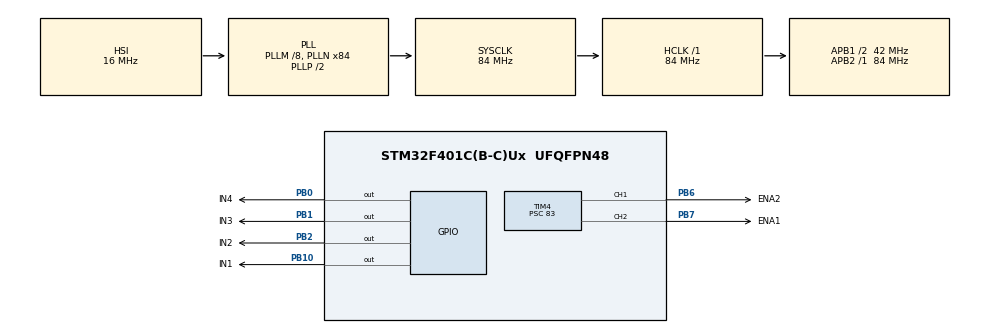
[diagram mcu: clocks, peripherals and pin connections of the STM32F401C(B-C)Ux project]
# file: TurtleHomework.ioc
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Mcu.Family=STM32F4
Mcu.Name=STM32F401C(B-C)Ux
Mcu.Package=UFQFPN48
NVIC.PriorityGroup=NVIC_PRIORITYGROUP_4
NVIC.TIM4_IRQn=true\:0\:0\:false\:false\:true\:true\:true\:true
PB0.GPIO_Label=IN4
PB0.Signal=GPIO_Output
PB1.GPIO_Label=IN3
PB1.Signal=GPIO_Output
PB10.GPIO_Label=IN1
PB10.Signal=GPIO_Output
PB2.GPIO_Label=IN2
PB2.Signal=GPIO_Output
PB6.GPIO_Label=ENA2
PB6.Signal=S_TIM4_CH1
PB7.GPIO_Label=ENA1
PB7.Signal=S_TIM4_CH2
PH0\ -\ OSC_IN.Mode=HSE-External-Oscillator
PH0\ -\ OSC_IN.Signal=RCC_OSC_IN
PH1\ -\ OSC_OUT.Mode=HSE-External-Oscillator
PH1\ -\ OSC_OUT.Signal=RCC_OSC_OUT
ProjectManager.HeapSize=0x200
ProjectManager.StackSize=0x400
ProjectManager.TargetToolchain=CMake
RCC.48MHZClocksFreq_Value=42000000
RCC.AHBFreq_Value=84000000
RCC.APB1CLKDivider=RCC_HCLK_DIV2
RCC.APB1Freq_Value=42000000
RCC.APB1TimFreq_Value=84000000
RCC.APB2Freq_Value=84000000
RCC.APB2TimFreq_Value=84000000
RCC.CortexFreq_Value=84000000
RCC.HCLKFreq_Value=84000000
RCC.HSE_VALUE=25000000
RCC.HSI_VALUE=16000000
RCC.LSE_VALUE=32768
RCC.PLLM=8
RCC.PLLN=84
RCC.SYSCLKFreq_VALUE=84000000
RCC.SYSCLKSource=RCC_SYSCLKSOURCE_PLLCLK
RCC.VCOOutputFreq_Value=168000000
SH.S_TIM4_CH1.0=TIM4_CH1,PWM Generation1 CH1
SH.S_TIM4_CH2.0=TIM4_CH2,PWM Generation2 CH2
TIM4.Channel-PWM\ Generation1\ CH1=TIM_CHANNEL_1
TIM4.Channel-PWM\ Generation2\ CH2=TIM_CHANNEL_2
TIM4.Period=16666
TIM4.Prescaler=83
VP_TIM4_VS_ClockSourceINT.Mode=Internal
board=custom

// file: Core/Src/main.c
/* USER CODE BEGIN Header */
/**
  ******************************************************************************
  * @file           : main.c
  * @brief          : Main program body
  ******************************************************************************
  * @attention
  *
  * Copyright (c) 2026 STMicroelectronics.
  * All rights reserved.
  *
  * This software is licensed under terms that can be found in the LICENSE file
  * in the root directory of this software component.
  * If no LICENSE file comes with this software, it is provided AS-IS.
  *
  ******************************************************************************
  */
/* USER CODE END Header */
#include "main.h"

TIM_HandleTypeDef htim4;

void SystemClock_Config(void);
static void MX_GPIO_Init(void);
static void MX_TIM4_Init(void);
/* USER CODE BEGIN PFP */
void turtle_forward(uint16_t speed);
void turtle_backward(uint16_t speed);
void turtle_turn_left(uint16_t speed);
void turtle_turn_right(uint16_t speed);

/* USER CODE END PFP */

/* USER CODE BEGIN 0 */
void turtle_forward(uint16_t speed)
{
    HAL_GPIO_WritePin(GPIOB, IN1_Pin, GPIO_PIN_RESET);
    HAL_GPIO_WritePin(GPIOB, IN2_Pin, GPIO_PIN_SET);
    HAL_GPIO_WritePin(GPIOB, IN3_Pin, GPIO_PIN_SET);
    HAL_GPIO_WritePin(GPIOB, IN4_Pin, GPIO_PIN_RESET);

    __HAL_TIM_SET_COMPARE(&htim4, TIM_CHANNEL_1, speed);
    __HAL_TIM_SET_COMPARE(&htim4, TIM_CHANNEL_2, speed);
}

void turtle_backward(uint16_t speed)
{
    HAL_GPIO_WritePin(GPIOB, IN1_Pin, GPIO_PIN_SET);
    HAL_GPIO_WritePin(GPIOB, IN2_Pin, GPIO_PIN_RESET);
    HAL_GPIO_WritePin(GPIOB, IN3_Pin, GPIO_PIN_RESET);
    HAL_GPIO_WritePin(GPIOB, IN4_Pin, GPIO_PIN_SET);

    __HAL_TIM_SET_COMPARE(&htim4, TIM_CHANNEL_1, speed);
    __HAL_TIM_SET_COMPARE(&htim4, TIM_CHANNEL_2, speed);
}

void turtle_turn_left(uint16_t speed)
{
    HAL_GPIO_WritePin(GPIOB, IN1_Pin, GPIO_PIN_SET);
    HAL_GPIO_WritePin(GPIOB, IN2_Pin, GPIO_PIN_RESET);
    HAL_GPIO_WritePin(GPIOB, IN3_Pin, GPIO_PIN_SET);
    HAL_GPIO_WritePin(GPIOB, IN4_Pin, GPIO_PIN_RESET);

    __HAL_TIM_SET_COMPARE(&htim4, TIM_CHANNEL_1, speed);
    __HAL_TIM_SET_COMPARE(&htim4, TIM_CHANNEL_2, speed);
}

void turtle_turn_right(uint16_t speed)
{
    HAL_GPIO_WritePin(GPIOB, IN1_Pin, GPIO_PIN_RESET);
    HAL_GPIO_WritePin(GPIOB, IN2_Pin, GPIO_PIN_SET);
    HAL_GPIO_WritePin(GPIOB, IN3_Pin, GPIO_PIN_RESET);
    HAL_GPIO_WritePin(GPIOB, IN4_Pin, GPIO_PIN_SET);

    __HAL_TIM_SET_COMPARE(&htim4, TIM_CHANNEL_1, speed);
    __HAL_TIM_SET_COMPARE(&htim4, TIM_CHANNEL_2, speed);
}

//Al tener un ARR = 16666, el rango del Duty Cycle va de 0 a 16666

/* USER CODE END 0 */

int main(void)
{

  /* MCU Configuration--------------------------------------------------------*/

  /* Reset of all peripherals, Initializes the Flash interface and the Systick. */
  HAL_Init();

  /* Configure the system clock */
  SystemClock_Config();

  /* Initialize all configured peripherals */
  MX_GPIO_Init();
  MX_TIM4_Init();
  /* USER CODE BEGIN 2 */
  HAL_TIM_PWM_Start(&htim4, TIM_CHANNEL_1);
  HAL_TIM_PWM_Start(&htim4, TIM_CHANNEL_2);
  /* USER CODE END 2 */

  /* Infinite loop */
  while (1)
  {

    /* USER CODE BEGIN 3 */
    turtle_forward(16666);
    HAL_Delay(2000);
    turtle_backward(16666);
    HAL_Delay(2000);
    turtle_turn_left(16666);
    HAL_Delay(2000);
    turtle_turn_right(16666);
    HAL_Delay(2000);
  }
  /* USER CODE END 3 */
}

void SystemClock_Config(void)
{
  RCC_OscInitTypeDef RCC_OscInitStruct = {0};
  RCC_ClkInitTypeDef RCC_ClkInitStruct = {0};

  /** Configure the main internal regulator output voltage
  */
  __HAL_RCC_PWR_CLK_ENABLE();
  __HAL_PWR_VOLTAGESCALING_CONFIG(PWR_REGULATOR_VOLTAGE_SCALE2);

  /** Initializes the RCC Oscillators according to the specified parameters
  * in the RCC_OscInitTypeDef structure.
  */
  RCC_OscInitStruct.OscillatorType = RCC_OSCILLATORTYPE_HSI;
  RCC_OscInitStruct.HSIState = RCC_HSI_ON;
  RCC_OscInitStruct.HSICalibrationValue = RCC_HSICALIBRATION_DEFAULT;
  RCC_OscInitStruct.PLL.PLLState = RCC_PLL_ON;
  RCC_OscInitStruct.PLL.PLLSource = RCC_PLLSOURCE_HSI;
  RCC_OscInitStruct.PLL.PLLM = 8;
  RCC_OscInitStruct.PLL.PLLN = 84;
  RCC_OscInitStruct.PLL.PLLP = RCC_PLLP_DIV2;
  RCC_OscInitStruct.PLL.PLLQ = 4;
  if (HAL_RCC_OscConfig(&RCC_OscInitStruct) != HAL_OK)
  {
    Error_Handler();
  }

  /** Initializes the CPU, AHB and APB buses clocks
  */
  RCC_ClkInitStruct.ClockType = RCC_CLOCKTYPE_HCLK|RCC_CLOCKTYPE_SYSCLK
                              |RCC_CLOCKTYPE_PCLK1|RCC_CLOCKTYPE_PCLK2;
  RCC_ClkInitStruct.SYSCLKSource = RCC_SYSCLKSOURCE_PLLCLK;
  RCC_ClkInitStruct.AHBCLKDivider = RCC_SYSCLK_DIV1;
  RCC_ClkInitStruct.APB1CLKDivider = RCC_HCLK_DIV2;
  RCC_ClkInitStruct.APB2CLKDivider = RCC_HCLK_DIV1;

  if (HAL_RCC_ClockConfig(&RCC_ClkInitStruct, FLASH_LATENCY_2) != HAL_OK)
  {
    Error_Handler();
  }
}

static void MX_TIM4_Init(void)
{

  TIM_ClockConfigTypeDef sClockSourceConfig = {0};
  TIM_MasterConfigTypeDef sMasterConfig = {0};
  TIM_OC_InitTypeDef sConfigOC = {0};

  htim4.Instance = TIM4;
  htim4.Init.Prescaler = 83;
  htim4.Init.CounterMode = TIM_COUNTERMODE_UP;
  htim4.Init.Period = 16666;
  htim4.Init.ClockDivision = TIM_CLOCKDIVISION_DIV1;
  htim4.Init.AutoReloadPreload = TIM_AUTORELOAD_PRELOAD_DISABLE;
  if (HAL_TIM_Base_Init(&htim4) != HAL_OK)
  {
    Error_Handler();
  }
  sClockSourceConfig.ClockSource = TIM_CLOCKSOURCE_INTERNAL;
  if (HAL_TIM_ConfigClockSource(&htim4, &sClockSourceConfig) != HAL_OK)
  {
    Error_Handler();
  }
  if (HAL_TIM_PWM_Init(&htim4) != HAL_OK)
  {
    Error_Handler();
  }
  sMasterConfig.MasterOutputTrigger = TIM_TRGO_RESET;
  sMasterConfig.MasterSlaveMode = TIM_MASTERSLAVEMODE_DISABLE;
  if (HAL_TIMEx_MasterConfigSynchronization(&htim4, &sMasterConfig) != HAL_OK)
  {
    Error_Handler();
  }
  sConfigOC.OCMode = TIM_OCMODE_PWM1;
  sConfigOC.Pulse = 0;
  sConfigOC.OCPolarity = TIM_OCPOLARITY_HIGH;
  sConfigOC.OCFastMode = TIM_OCFAST_DISABLE;
  if (HAL_TIM_PWM_ConfigChannel(&htim4, &sConfigOC, TIM_CHANNEL_1) != HAL_OK)
  {
    Error_Handler();
  }
  if (HAL_TIM_PWM_ConfigChannel(&htim4, &sConfigOC, TIM_CHANNEL_2) != HAL_OK)
  {
    Error_Handler();
  }
  HAL_TIM_MspPostInit(&htim4);

}

static void MX_GPIO_Init(void)
{
  GPIO_InitTypeDef GPIO_InitStruct = {0};

  /* GPIO Ports Clock Enable */
  __HAL_RCC_GPIOH_CLK_ENABLE();
  __HAL_RCC_GPIOB_CLK_ENABLE();

  /*Configure GPIO pin Output Level */
  HAL_GPIO_WritePin(GPIOB, IN4_Pin|IN3_Pin|IN2_Pin|IN1_Pin, GPIO_PIN_RESET);

  /*Configure GPIO pins : IN4_Pin IN3_Pin IN2_Pin IN1_Pin */
  GPIO_InitStruct.Pin = IN4_Pin|IN3_Pin|IN2_Pin|IN1_Pin;
  GPIO_InitStruct.Mode = GPIO_MODE_OUTPUT_PP;
  GPIO_InitStruct.Pull = GPIO_NOPULL;
  GPIO_InitStruct.Speed = GPIO_SPEED_FREQ_LOW;
  HAL_GPIO_Init(GPIOB, &GPIO_InitStruct);

}

void Error_Handler(void)
{
  __disable_irq();
  while (1)
  {
  }
}
